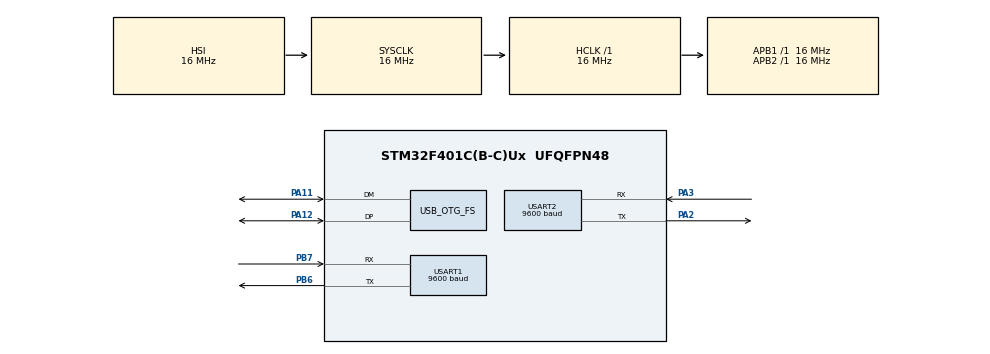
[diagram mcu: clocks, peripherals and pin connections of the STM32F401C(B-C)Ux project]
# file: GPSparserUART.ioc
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Mcu.Family=STM32F4
Mcu.Name=STM32F401C(B-C)Ux
Mcu.Package=UFQFPN48
NVIC.OTG_FS_IRQn=true\:0\:0\:false\:false\:true\:false\:true\:true
NVIC.PriorityGroup=NVIC_PRIORITYGROUP_4
NVIC.USART1_IRQn=true\:0\:0\:false\:false\:true\:true\:true\:true
NVIC.USART2_IRQn=true\:0\:0\:false\:false\:true\:true\:true\:true
PA11.Mode=Device_Only
PA11.Signal=USB_OTG_FS_DM
PA12.Mode=Device_Only
PA12.Signal=USB_OTG_FS_DP
PA13.Mode=Serial_Wire
PA13.Signal=SYS_JTMS-SWDIO
PA14.Mode=Serial_Wire
PA14.Signal=SYS_JTCK-SWCLK
PA2.Mode=Asynchronous
PA2.Signal=USART2_TX
PA3.Mode=Asynchronous
PA3.Signal=USART2_RX
PB6.Mode=Asynchronous
PB6.Signal=USART1_TX
PB7.Mode=Asynchronous
PB7.Signal=USART1_RX
PH0\ -\ OSC_IN.Mode=HSE-External-Oscillator
PH0\ -\ OSC_IN.Signal=RCC_OSC_IN
PH1\ -\ OSC_OUT.Mode=HSE-External-Oscillator
PH1\ -\ OSC_OUT.Signal=RCC_OSC_OUT
ProjectManager.HeapSize=0x200
ProjectManager.StackSize=0x400
ProjectManager.TargetToolchain=STM32CubeIDE
RCC.48MHZClocksFreq_Value=48000000
RCC.AHBFreq_Value=16000000
RCC.APB1Freq_Value=16000000
RCC.APB2Freq_Value=16000000
RCC.CortexFreq_Value=16000000
RCC.HSE_VALUE=25000000
RCC.HSI_VALUE=16000000
RCC.LSE_VALUE=32768
RCC.PLLM=15
RCC.PLLN=144
RCC.PLLQ=5
RCC.SYSCLKFreq_VALUE=16000000
RCC.VCOOutputFreq_Value=240000000
USART1.BaudRate=9600
USART1.VirtualMode=VM_ASYNC
USART2.BaudRate=9600
USART2.VirtualMode=VM_ASYNC
USB_DEVICE.CLASS_NAME_FS=CDC
USB_DEVICE.VirtualMode=Cdc
USB_DEVICE.VirtualModeFS=Cdc_FS
USB_OTG_FS.VirtualMode=Device_Only
VP_USB_DEVICE_VS_USB_DEVICE_CDC_FS.Mode=CDC_FS
board=custom

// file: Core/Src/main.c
/* USER CODE BEGIN Header */
/**
  ******************************************************************************
  * @file           : main.c
  * @brief          : Main program body
  ******************************************************************************
  * @attention
  *
  * Copyright (c) 2024 STMicroelectronics.
  * All rights reserved.
  *
  * This software is licensed under terms that can be found in the LICENSE file
  * in the root directory of this software component.
  * If no LICENSE file comes with this software, it is provided AS-IS.
  *
  ******************************************************************************
  */
/* USER CODE END Header */
#include "main.h"
#include "usb_device.h"

/* USER CODE BEGIN Includes */
#include "NMEA.h"
#include "UartRingbuffer.h"
#include <string.h>
#include <stdio.h>
#include "usbd_cdc_if.h"
/* USER CODE END Includes */

UART_HandleTypeDef huart1;
UART_HandleTypeDef huart2;

/* USER CODE BEGIN PV */
ring_buffer buffer;
char nmea_message[NMEA_MAX_MESSAGE_SIZE];
NMEA_Data data;
char message[NMEA_MAX_MESSAGE_SIZE];
char dupe[NMEA_MAX_MESSAGE_SIZE];
char dupe1[NMEA_MAX_MESSAGE_SIZE];
int count=0;
int problem1=0;
/* USER CODE END PV */

void SystemClock_Config(void);
static void MX_GPIO_Init(void);
static void MX_USART2_UART_Init(void);
static void MX_USART1_UART_Init(void);

/* USER CODE BEGIN 0 */
void read_buffer(unsigned char c, ring_buffer *buffer, char *nmea_message);

void Error_Handler(void)
{

  while (1)
  {
    problem1++;
  }
}

void HAL_UART_RxCpltCallback(UART_HandleTypeDef *huart)
{
  if (huart == &huart2)
  {
    unsigned char c = huart->Instance->DR;

    if (HAL_UART_Receive_IT(huart, (uint8_t *)&buffer.buffer[buffer.head], 1) != HAL_OK)
    {

      Error_Handler();
    }

    read_buffer(c, &buffer, nmea_message);
  }
}

void doubleToString(double value, char *str)
{
  snprintf(str, 20, "%.7f", value);
}

void read_buffer(unsigned char c, ring_buffer *buffer, char *nmea_message)
{
  if (c == '$')
  {
    buffer->head = 0;
    buffer->tail = 0;

    nmea_message[buffer->head++] = c;
    buffer->storing = 1;

  }
  else if (buffer->storing)
  {
    buffer->buffer[buffer->head] = c;
    buffer->head = (buffer->head + 1) % UART_BUFFER_SIZE;

    if (c == '*')
    {
      buffer->storing = 0;

      nmea_message[buffer->head] = '\0';  //NMEA is useless here directly go for message

      strcpy(message, (char *)buffer->buffer);

      parseNMEAGGA(message, &data, dupe);
      parseNMEAGSV(message, &data, dupe1);
      count++;

      char buffer1[500];

           buffer1[0] = '\0';

               snprintf(buffer1 + strlen(buffer1), sizeof(buffer1) - strlen(buffer1), "GPS Position: %c\r\n", data.gpsposition);

   //timestamp
               char buffer2[20];
               doubleToString(data.timestamp,buffer2);
               snprintf(buffer1 + strlen(buffer1), sizeof(buffer1) - strlen(buffer1), "Timestamp: %s\r\n",buffer2);
               buffer2[0] = '\0';

    //latitude
               doubleToString(data.latitude, buffer2);
               snprintf(buffer1 + strlen(buffer1), sizeof(buffer1) - strlen(buffer1), "latitude: %s\r\n", buffer2);
               buffer2[0] = '\0';

  //Northorsouth
               snprintf(buffer1 + strlen(buffer1), sizeof(buffer1) - strlen(buffer1), "Northorsouth: %d\r\n", data.Northorsouth);

   //longitude
               doubleToString(data.longitude, buffer2);
               snprintf(buffer1 + strlen(buffer1), sizeof(buffer1) - strlen(buffer1), "longitude: %s\r\n", buffer2);
               buffer2[0] = '\0';

   //eastorwest
               snprintf(buffer1 + strlen(buffer1), sizeof(buffer1) - strlen(buffer1), "eastorwest: %d\r\n", data.eastorwest);

   //fixtype
               snprintf(buffer1 + strlen(buffer1), sizeof(buffer1) - strlen(buffer1), "fixtype %c'\r\n", data.fix_type);

   // satellites
               doubleToString(data.satellites, buffer2);
               snprintf(buffer1 + strlen(buffer1), sizeof(buffer1) - strlen(buffer1), "satelites: %s\r\n", buffer2);
               buffer2[0] = '\0';

   //hdop
               doubleToString(data.hdop, buffer2);
               snprintf(buffer1 + strlen(buffer1), sizeof(buffer1) - strlen(buffer1), "hdop: %s\r\n", buffer2);
               buffer2[0] = '\0';

   //altitude
               doubleToString(data.altitude, buffer2);
               snprintf(buffer1 + strlen(buffer1), sizeof(buffer1) - strlen(buffer1), "altitude: %s\r\n", buffer2);
               buffer2[0] = '\0';
   //VDOP
               doubleToString(data.altitude, buffer2);
               snprintf(buffer1 + strlen(buffer1), sizeof(buffer1) - strlen(buffer1), "VDOP: %s\r\n", buffer2);
               buffer2[0] = '\0';

CDC_Transmit_FS((uint8_t *)buffer1, strlen(buffer1));

              buffer->head = 0;
              buffer->tail = 0;

    }

  }
}
/* USER CODE END 0 */

int main(void)
{

  /* MCU Configuration--------------------------------------------------------*/

  /* Reset of all peripherals, Initializes the Flash interface and the Systick. */
  HAL_Init();

  /* Configure the system clock */
  SystemClock_Config();

  /* Initialize all configured peripherals */
  MX_GPIO_Init();
  MX_USB_DEVICE_Init();
  MX_USART2_UART_Init();
  MX_USART1_UART_Init();
  /* USER CODE BEGIN 2 */

  if (HAL_UART_Receive_IT(&huart2, (uint8_t *)&buffer.buffer[buffer.head], 1) != HAL_OK)
  {

    Error_Handler();
  }

  /* USER CODE END 2 */

  /* Infinite loop */
  while (1)
  {

    /* USER CODE BEGIN 3 */
    // Place your code here

  }
  /* USER CODE END 3 */
}

void SystemClock_Config(void)
{
  RCC_OscInitTypeDef RCC_OscInitStruct = {0};
  RCC_ClkInitTypeDef RCC_ClkInitStruct = {0};

  /** Configure the main internal regulator output voltage
  */
  __HAL_RCC_PWR_CLK_ENABLE();
  __HAL_PWR_VOLTAGESCALING_CONFIG(PWR_REGULATOR_VOLTAGE_SCALE2);

  /** Initializes the RCC Oscillators according to the specified parameters
  * in the RCC_OscInitTypeDef structure.
  */
  RCC_OscInitStruct.OscillatorType = RCC_OSCILLATORTYPE_HSI | RCC_OSCILLATORTYPE_HSE;
  RCC_OscInitStruct.HSEState = RCC_HSE_ON;
  RCC_OscInitStruct.HSIState = RCC_HSI_ON;
  RCC_OscInitStruct.HSICalibrationValue = RCC_HSICALIBRATION_DEFAULT;
  RCC_OscInitStruct.PLL.PLLState = RCC_PLL_ON;
  RCC_OscInitStruct.PLL.PLLSource = RCC_PLLSOURCE_HSE;
  RCC_OscInitStruct.PLL.PLLM = 15;
  RCC_OscInitStruct.PLL.PLLN = 144;
  RCC_OscInitStruct.PLL.PLLP = RCC_PLLP_DIV2;
  RCC_OscInitStruct.PLL.PLLQ = 5;
  if (HAL_RCC_OscConfig(&RCC_OscInitStruct) != HAL_OK)
  {
    Error_Handler();
  }

  /** Initializes the CPU, AHB and APB buses clocks
  */
  RCC_ClkInitStruct.ClockType = RCC_CLOCKTYPE_HCLK | RCC_CLOCKTYPE_SYSCLK |
                                RCC_CLOCKTYPE_PCLK1 | RCC_CLOCKTYPE_PCLK2;
  RCC_ClkInitStruct.SYSCLKSource = RCC_SYSCLKSOURCE_HSI;
  RCC_ClkInitStruct.AHBCLKDivider = RCC_SYSCLK_DIV1;
  RCC_ClkInitStruct.APB1CLKDivider = RCC_HCLK_DIV1;
  RCC_ClkInitStruct.APB2CLKDivider = RCC_HCLK_DIV1;

  if (HAL_RCC_ClockConfig(&RCC_ClkInitStruct, FLASH_LATENCY_0) != HAL_OK)
  {
    Error_Handler();
  }
}

static void MX_USART1_UART_Init(void)
{
  huart1.Instance = USART1;
  huart1.Init.BaudRate = 9600;
  huart1.Init.WordLength = UART_WORDLENGTH_8B;
  huart1.Init.StopBits = UART_STOPBITS_1;
  huart1.Init.Parity = UART_PARITY_NONE;
  huart1.Init.Mode = UART_MODE_TX_RX;
  huart1.Init.HwFlowCtl = UART_HWCONTROL_NONE;
  huart1.Init.OverSampling = UART_OVERSAMPLING_16;
  if (HAL_UART_Init(&huart1) != HAL_OK)
  {
    Error_Handler();
  }
}

static void MX_USART2_UART_Init(void)
{
  huart2.Instance = USART2;
  huart2.Init.BaudRate = 9600;
  huart2.Init.WordLength = UART_WORDLENGTH_8B;
  huart2.Init.StopBits = UART_STOPBITS_1;
  huart2.Init.Parity = UART_PARITY_NONE;
  huart2.Init.Mode = UART_MODE_TX_RX;
  huart2.Init.HwFlowCtl = UART_HWCONTROL_NONE;
  huart2.Init.OverSampling = UART_OVERSAMPLING_16;
  if (HAL_UART_Init(&huart2) != HAL_OK)
  {
    Error_Handler();
  }
}

static void MX_GPIO_Init(void)
{
  /* GPIO Ports Clock Enable */
  __HAL_RCC_GPIOH_CLK_ENABLE();
  __HAL_RCC_GPIOA_CLK_ENABLE();
  __HAL_RCC_GPIOB_CLK_ENABLE();
}
